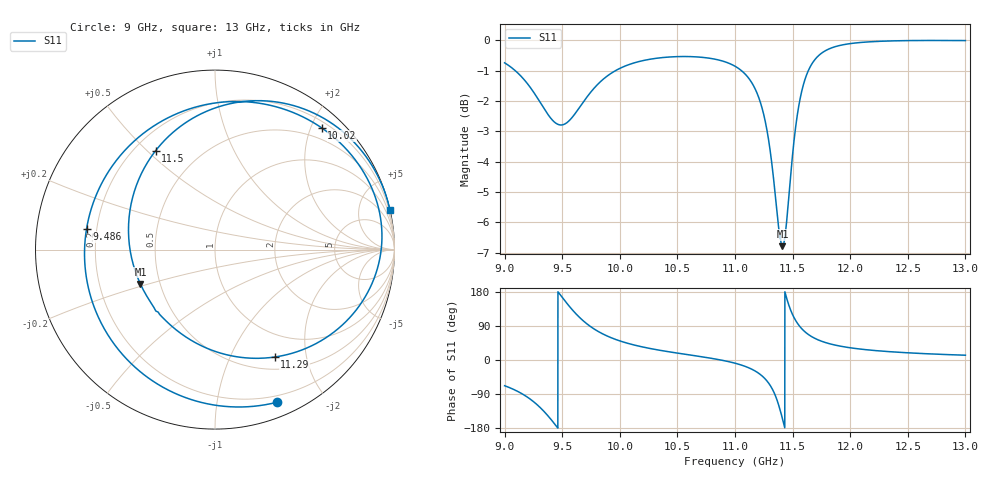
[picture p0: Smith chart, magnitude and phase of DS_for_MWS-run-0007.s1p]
! TOUCHSTONE file generated by CST DESIGN STUDIO
! Date and time: Tue Feb  4 13:54:30 2025
! Project name: C:\Work\MatlabApps\UnitCellOptimizationMatlab\CST\unitcell.cst
! Tree item: Tasks\Sweep1\SPara1\S-Parameters
! Header version: 2024
! Port assignment regex: !\s*Touchstone port\s*([0-9]+)\s*=\s*(CST MWS port|CST DES external port|CST DES block port)\s*(.+)\s* \(\"(.*)\"\)(\s*mode\s*([0-9]+))?.*
! Touchstone port assignment:
! Touchstone port 1 = CST DES external port 1 ("")
# GHz S MA R 50
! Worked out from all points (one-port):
!   4001 points, 9 GHz to 13 GHz, reference 50 ohm
!   lowest |S11| = -6.8 dB at 11.41 GHz (marker M1), VSWR 2.69, Z = 19.4 - j9.39 ohm
!   |S11| at or under -10 dB: nowhere
!   S11 on the Smith chart (normalised r, x): 9 GHz: 0.14, -1.48; 9.486 GHz: 0.16, +0.08; 10.02 GHz: 0.30, +2.17; 11.29 GHz: 0.66, -1.49; 11.5 GHz: 0.28, +0.53; 13 GHz: 0.05, +9.04
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9  0.9179 -67.9
9.155  0.8673 -89.8
9.267  0.813 -114.0
9.393  0.747 -153.3
9.486  0.725 170.9
9.5  0.7252 165.3
9.602  0.7526 127.6
9.7  0.7991 98.9
9.845  0.859 69.9
10  0.8987 50.4
10.017  0.9018 48.7
10.224  0.9276 32.7
10.5  0.9398 18.2
11  0.9062 -8.4
11.176  0.8305 -29.2
11.238  0.7692 -42.8
11.292  0.6843 -61.0
11.355  0.5427 -97.5
11.412  0.4576 -155.2
11.453  0.5139 158.3
11.498  0.6427 121.0
11.5  0.6485 119.7
11.575  0.8174 84.1
11.696  0.9305 56.7
11.821  0.9686 42.9
12  0.9874 32.3
12.5  0.9987 19.0
13  0.9988 12.6
